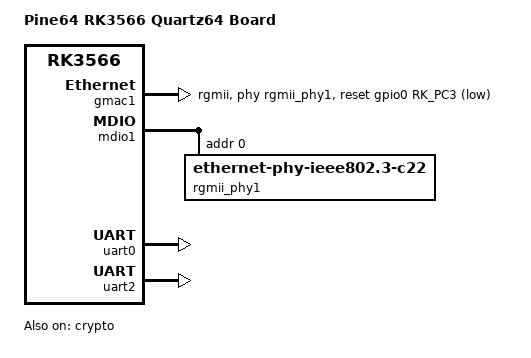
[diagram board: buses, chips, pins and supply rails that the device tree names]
/*
 * SPDX-License-Identifier:     GPL-2.0+
 *
 * (C) Copyright 2020 Rockchip Electronics Co., Ltd
 */

/dts-v1/;
#include "rk3568.dtsi"
#include "rk3566-u-boot.dtsi"
#include <dt-bindings/input/input.h>

/ {
	model = "Pine64 RK3566 Quartz64 Board";
	compatible = "rockchip,rk3566-quartz64", "rockchip,rk3566";

};

&gmac1 {
	phy-mode = "rgmii";
	clock_in_out = "input";

	snps,reset-gpio = <&gpio0 RK_PC3 GPIO_ACTIVE_LOW>;
	snps,reset-active-low;
	/* Reset time is 20ms, 100ms for rtl8211f */
	snps,reset-delays-us = <0 20000 100000>;

	assigned-clocks = <&cru SCLK_GMAC1_RX_TX>, <&cru SCLK_GMAC1>;
	assigned-clock-parents = <&gmac1_clkin>, <&gmac1_clkin>;

	pinctrl-names = "default";
	pinctrl-0 = <&gmac1m0_miim
		     &gmac1m0_tx_bus2
		     &gmac1m0_rx_bus2
		     &gmac1m0_rgmii_clk
		     &gmac1m0_rgmii_bus>;

//	tx_delay = <0x4f>;
//	rx_delay = <0x26>;

	phy-handle = <&rgmii_phy1>;
	status = "okay";
};

&mdio1 {
	rgmii_phy1: phy@0 {
		compatible = "ethernet-phy-ieee802.3-c22";
		reg = <0x0>;
	};
};

&crypto {
	status = "okay";
};

&uart0 {
	status = "okay";
};

&uart2 {
	status = "okay";
};
